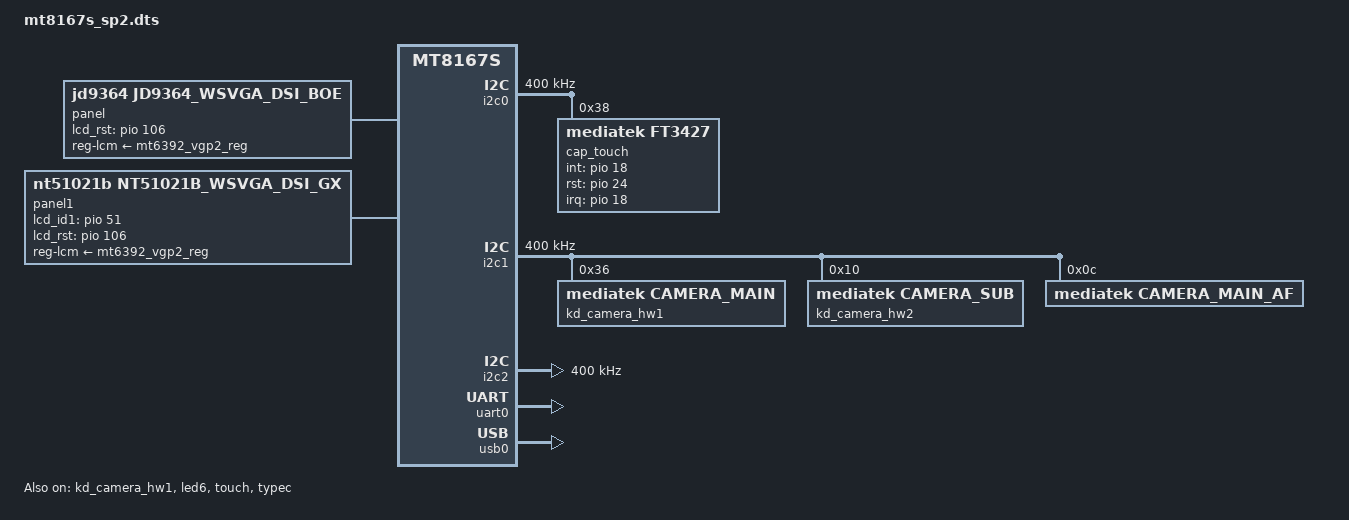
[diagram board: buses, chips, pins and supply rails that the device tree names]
/*
 * Copyright (c) 2014-2015 MediaTek Inc.
 *
 * This program is free software; you can redistribute it and/or modify
 * it under the terms of the GNU General Public License version 2 as
 * published by the Free Software Foundation.
 *
 * This program is distributed in the hope that it will be useful,
 * MERCHANTABILITY or FITNESS FOR A PARTICULAR PURPOSE.  See the
 * GNU General Public License for more details.
 */

/dts-v1/;

#include "mt8167s_ref_base.dtsi"

/ {
	panel: panel@0 {
		compatible = "jd9364,jd9364_wsvga_dsi_boe";
		gpio_lcd_rst = <&pio 106 0>;
		reg-lcm-supply = <&mt6392_vgp2_reg>;
		status = "okay";
	};
	panel1: panel1@1 {
		compatible = "nt51021b,nt51021b_wsvga_dsi_gx";
		gpio_lcd_id1 = <&pio 51 0>;
		gpio_lcd_rst = <&pio 106 0>;
		reg-lcm-supply = <&mt6392_vgp2_reg>;
		status = "okay";
	};
};

&i2c0 {
	status = "okay";
	clock-frequency = <400000>;

	cap_touch@38 {
		compatible = "mediatek,FT3427";
		reg = <0x38>;
		interrupt-parent = <&pio>;
		interrupts = <18 IRQ_TYPE_EDGE_FALLING>;
		int-gpio = <&pio 18 0>;
		rst-gpio = <&pio 24 0>;
	};
};

&i2c1 {
	clock-div = <2>;
	pinctrl-names = "default";
	pinctrl-0 = <&i2c1_pins_a>;
	status = "okay";
	clock-frequency = <400000>;
	kd_camera_hw1@36 {
		compatible = "mediatek,camera_main";
		reg = <0x36>;
	};
	kd_camera_hw2@10 {
		compatible = "mediatek,camera_sub";
		reg = <0x10>;
	};
	 camera_main_af@0c {
		compatible = "mediatek,CAMERA_MAIN_AF";
		reg = <0x0c>;
	};
};

&i2c2 {
	status = "okay";
	clock-frequency = <400000>;
};

/* Main Cam */
&kd_camera_hw1 {
	reg-vcama-supply = <&mt6392_vcama_reg>;		/* AVDD */
	reg-vcamd-supply = <&mt6392_vcamd_reg>;		/* DVDD */
	reg-vcamio-supply = <&mt6392_vcamio_reg>;	/* DOVDD */
	reg-vcamaf-supply = <&mt6392_vcamaf_reg>;	/* AFVDD */

	pinctrl-names = "default",
		"cam_mclk", "cam_gpio84", "cam_gpio85",
		"cam_gpio86", "cam_gpio87", "cam_gpio88",  "cam_gpio89";

	pinctrl-0 = <&camera_pins_default>;
	pinctrl-1 = <&camera_pins_cam_mclk>;
	pinctrl-2 = <&camera_pins_gpio84>;
	pinctrl-3 = <&camera_pins_gpio85>;
	pinctrl-4 = <&camera_pins_gpio86>;
	pinctrl-5 = <&camera_pins_gpio87>;
	pinctrl-6 = <&camera_pins_gpio88>;
	pinctrl-7 = <&camera_pins_gpio89>;

	cam0_rst = <&pio 49 0>;
	cam0_pdn = <&pio 48 0>;
/* cam1_rst = <&pio 10 0>; */
/* cam1_pdn = <&pio 7 0>; */
	status = "okay";
};

/* Sub Cam */
/* Same power pins as Main, actually, it can be commented */
&kd_camera_hw2 {
	reg-vcama-supply = <&mt6392_vcama_reg>;		/* AVDD */
	reg-vcamd-supply = <&mt6392_vcamd_reg>;		/* DVDD */
	reg-vcamio-supply = <&mt6392_vcamio_reg>;	/* DOVDD */
	reg-vcamaf-supply = <&mt6392_vcamaf_reg>;	/* AFVDD */
};

&led6 {
	status = "okay";
};

&mt6392keys {
	mediatek,homekey-code = <114>;
	mediatek,homekey-gpio = <576>;
};

&pio {
	pinctrl-names = "default";
	pinctrl-0 = <&state_default>;

	state_default:pinconf_default {
		pins_cmd_dat {
			pins = <MT8167_PIN_105_MSDC1_CLK__FUNC_GPIO105>;
			input-enable;
			bias-pull-up;
		};
	};

	usb0_drvvbus: drvvbus_init {
		pins_cmd_dat {
			pins = <MT8167_PIN_8_EINT8__FUNC_GPIO8>;
			output-high;
		};
	};

	usb0_drvvbus_high: drvvbus_high {
		pins_cmd_dat {
			pins = <MT8167_PIN_8_EINT8__FUNC_GPIO8>;
			slew-rate = <1>;
			output-high;
		};
	};

	usb0_drvvbus_low: drvvbus_low {
		pins_cmd_dat {
			pins = <MT8167_PIN_8_EINT8__FUNC_GPIO8>;
			slew-rate = <1>;
			output-low;
		};
	};

	aud_pins_default: audiodefault {
		pins_cmd_dat {
			pinmux = <MT8167_PIN_25_EINT25__FUNC_I2S_8CH_MCK>,
				 <MT8167_PIN_55_I2S_DATA_IN__FUNC_I2S_8CH_DO1>,
				 <MT8167_PIN_56_I2S_LRCK__FUNC_I2S_8CH_LRCK>,
				 <MT8167_PIN_57_I2S_BCK__FUNC_I2S_8CH_BCK>,
				 <MT8167_PIN_100_CMDAT0__FUNC_TDM_RX_MCK>,
				 <MT8167_PIN_101_CMDAT1__FUNC_TDM_RX_BCK>,
				 <MT8167_PIN_16_EINT16__FUNC_TDM_RX_LRCK>,
				 <MT8167_PIN_103_CMPCLK__FUNC_TDM_RX_DI>,
				 <MT8167_PIN_1_EINT1__FUNC_I2S2_DI>;
			 drive-strength = <MTK_DRIVE_4mA>;
		};
	};

	/* CAMERA GPIO standardization */
	/* default mode */
	camera_pins_default: camdefault {
		pins_cmd_dat {
			pinmux = <MT8167_PIN_84_RDN0__FUNC_RDN0>,
				<MT8167_PIN_85_RDP0__FUNC_RDP0>,
				<MT8167_PIN_86_RDN1__FUNC_RDN1>,
				<MT8167_PIN_87_RDP1__FUNC_RDP1>,
				<MT8167_PIN_88_RCN__FUNC_RCN>,
				<MT8167_PIN_89_RCP__FUNC_RCP>;
		};
	};

	camera_pins_cam_mclk: cam_pin_mclk {
		pins_cmd_dat {
			pins = <MT8167_PIN_102_CMMCLK__FUNC_CMMCLK>;
		};
	};

	camera_pins_gpio88: cam_pin_gpio88 {
		pins_cmd_dat {
			pins = <MT8167_PIN_88_RCN__FUNC_RCN>;
		};
	};

	camera_pins_gpio89: cam_pin_gpio89 {
		pins_cmd_dat {
			pins = <MT8167_PIN_89_RCP__FUNC_RCP>;
		};
	};

	camera_pins_gpio86: cam_pin_gpio86 {
		pins_cmd_dat {
			pins = <MT8167_PIN_86_RDN1__FUNC_RDN1>;
		};
	};

	camera_pins_gpio87: cam_pin_gpio87 {
		pins_cmd_dat {
			pins = <MT8167_PIN_87_RDP1__FUNC_RDP1>;
		};
	};

	camera_pins_gpio84: cam_pin_gpio84 {
		pins_cmd_dat {
			pins = <MT8167_PIN_84_RDN0__FUNC_RDN0>;
		};
	};

	camera_pins_gpio85: cam_pin_gpio85 {
		pins_cmd_dat {
			pins = <MT8167_PIN_85_RDP0__FUNC_RDP0>;
		};
	};
	/* CAMERA GPIO standardization END */


	CTP_pins_default: eint0default {
		pins_cmd_dat {
			pins = <MT8167_PIN_8_EINT8__FUNC_GPIO8>;
			slew-rate = <0>;
			bias-disable;
		};
	};

	CTP_pins_eint_as_int: eint@0 {
		pins_cmd_dat {
			pins = <MT8167_PIN_8_EINT8__FUNC_GPIO8>;
			slew-rate = <0>;
			bias-disable;
		};
	};

	CTP_pins_eint_output0: eintoutput0 {
		pins_cmd_dat {
			pins = <MT8167_PIN_18_EINT18__FUNC_GPIO18>;
			slew-rate = <1>;
			output-low;
		};
	};

	CTP_pins_eint_output1: eintoutput1 {
		pins_cmd_dat {
			pins = <MT8167_PIN_18_EINT18__FUNC_GPIO18>;
			slew-rate = <1>;
			output-high;
		};
	};

	CTP_pins_rst_output0: rstoutput0 {
		pins_cmd_dat {
			pins = <MT8167_PIN_24_EINT24__FUNC_GPIO24>;
			slew-rate = <1>;
			output-low;
		};
	};

	CTP_pins_rst_output1: rstoutput1 {
		pins_cmd_dat {
			pins = <MT8167_PIN_24_EINT24__FUNC_GPIO24>;
			slew-rate = <1>;
			output-high;
		};
	};

	mmc2_pins_default: mmc2default {
		pins_cmd_dat {
			pinmux = <MT8167_PIN_70_MSDC2_DAT0__FUNC_MSDC2_DAT0>,
				<MT8167_PIN_71_MSDC2_DAT1__FUNC_MSDC2_DAT1>,
				<MT8167_PIN_72_MSDC2_DAT2__FUNC_MSDC2_DAT2>,
				<MT8167_PIN_73_MSDC2_DAT3__FUNC_MSDC2_DAT3>,
				<MT8167_PIN_68_MSDC2_CMD__FUNC_MSDC2_CMD>;
			input-enable;
			drive-strength = <MTK_DRIVE_6mA>;
			bias-pull-up = <MTK_PUPD_SET_R1R0_01>;
		};

		pins_clk {
			pinmux = <MT8167_PIN_69_MSDC2_CLK__FUNC_MSDC2_CLK>;
			drive-strength = <MTK_DRIVE_6mA>;
			bias-pull-down = <MTK_PUPD_SET_R1R0_10>;
		};

		pins_pmu_en {
			pinmux = <MT8167_PIN_2_EINT2__FUNC_GPIO2>;
			output-high;
		};

		pins_wifi_en {
			pinmux = <MT8167_PIN_13_EINT13__FUNC_GPIO13>;
			output-high;
		};
	};
};

&touch {
	vtouch-supply = <&mt6392_vgp1_reg>;
	tpd-resolution = <600 1024>;
	use-tpd-button = <0>;
	tpd-key-num = <4>;
	tpd-key-local= <139 172 158 0>;
	tpd-key-dim-local = <60 850 50 30 180 850 50 30 300 850 50 30 420 850 50 30>;
	tpd-max-touch-num = <5>;
	tpd-filter-enable = <1>;
	tpd-filter-pixel-density = <124>;
	tpd-filter-custom-prameters = <0 0 0 0 0 0 0 0 0 0 0 0>;
	tpd-filter-custom-speed = <0 0 0>;
	pinctrl-names = "default", "state_eint_as_int", "state_eint_output0", "state_eint_output1",
		"state_rst_output0", "state_rst_output1";
	pinctrl-0 = <&CTP_pins_default>;
	pinctrl-1 = <&CTP_pins_eint_as_int>;
	pinctrl-2 = <&CTP_pins_eint_output0>;
	pinctrl-3 = <&CTP_pins_eint_output1>;
	pinctrl-4 = <&CTP_pins_rst_output0>;
	pinctrl-5 = <&CTP_pins_rst_output1>;
	status = "okay";
};

&uart0 {
	status="okay";
};

&usb0 {
	pinctrl-names = "drvvbus_init", "drvvbus_low", "drvvbus_high";
	pinctrl-0 = <&usb0_drvvbus>;
	pinctrl-1 = <&usb0_drvvbus_low>;
	pinctrl-2 = <&usb0_drvvbus_high>;
	usb-power-supply = <&mt6392_vusb_reg>;
	drvvbus_gpio = <&pio 8 0>;
	status = "okay";
};

&typec {
	status = "okay";
};
